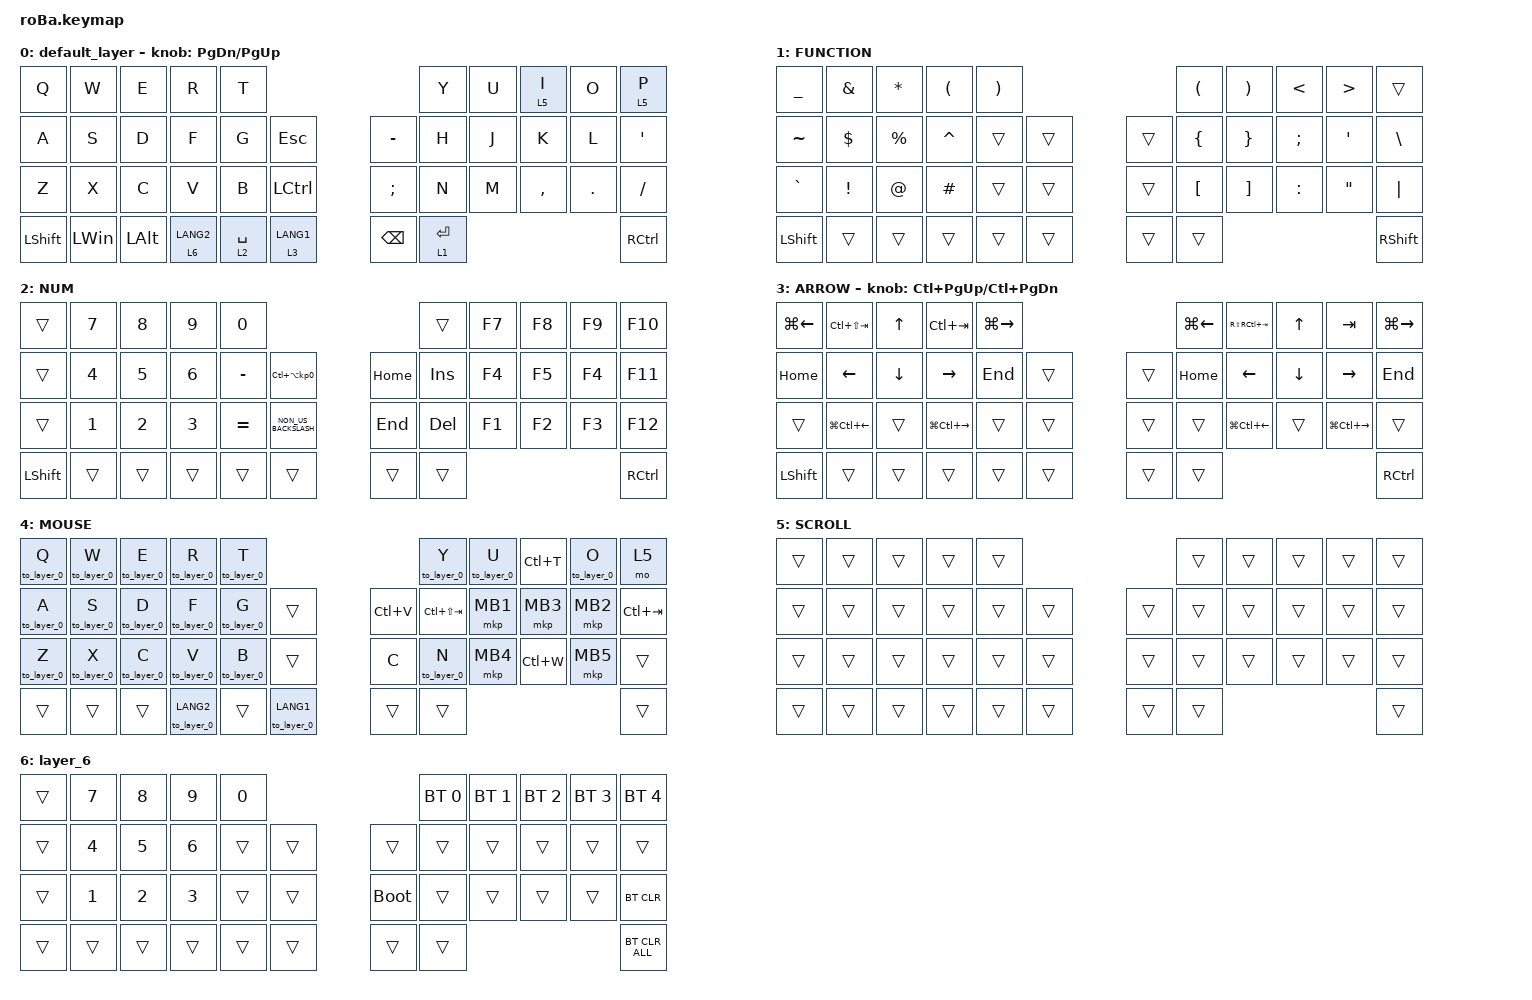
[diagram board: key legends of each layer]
#include <behaviors.dtsi>
#include <dt-bindings/zmk/bt.h>
#include <dt-bindings/zmk/keys.h>
#include <dt-bindings/zmk/pointing.h>

&mt {
    flavor = "balanced";
    quick-tap-ms = <0>;
};

&trackball {
    automouse-layer = <4>;
    scroll-layers = <5>;

    // arrows {
    //     layers = <3>;
    //     bindings =
    //         <&kp RIGHT_ARROW>,
    //         <&kp LEFT_ARROW>,
    //         <&kp UP_ARROW>,
    //         <&kp DOWN_ARROW>;
    //     tick = <10>;
    //     wait-ms = <5>;
    //     tap-ms = <5>;
    // };
};

/ {
    combos {
        compatible = "zmk,combos";

        tab {
            bindings = <&kp TAB>;
            key-positions = <11 12>;
        };

        shift_tab {
            bindings = <&kp LS(TAB)>;
            key-positions = <12 13>;
        };

        muhennkann {
            bindings = <&to_layer_0 INT_MUHENKAN>;
            key-positions = <11 10>;
        };

        double_quotation {
            bindings = <&kp DOUBLE_QUOTES>;
            key-positions = <20 21>;
        };

        eq {
            bindings = <&kp EQUAL>;
            key-positions = <24 25>;
        };

        hankaku {
            bindings = <&kp LANGUAGE_5>;
            key-positions = <38 39>;
        };

        LargeZ {
            bindings = <&kp RS(Z)>;
            key-positions = <15 22>;
        };

        Delete {
            bindings = <&kp DELETE>;
            key-positions = <40 41>;
        };
    };

    macros {
        to_layer_0: to_layer_0 {
            compatible = "zmk,behavior-macro-one-param";
            #binding-cells = <1>;
            bindings = <&to 0 &macro_param_1to1 &kp MACRO_PLACEHOLDER>;
            label = "TO_LAYER_0";
        };
    };

    behaviors {
        lt_to_layer_0: lt_to_layer_0 {
            compatible = "zmk,behavior-hold-tap";
            label = "LAYER_TAP_TO_0";
            bindings = <&mo>, <&to_layer_0>;

            #binding-cells = <2>;
            tapping-term-ms = <200>;
        };
    };

    keymap {
        compatible = "zmk,keymap";

        default_layer {
            bindings = <
&kp Q           &kp W         &kp E         &kp R                   &kp T                                                   &kp Y        &kp U  &lt 5 I    &kp O    &lt 5 P
&kp A           &kp S         &kp D         &kp F                   &kp G        &kp ESC                     &kp MINUS      &kp H        &kp J  &kp K      &kp L    &kp SQT
&kp Z           &kp X         &kp C         &kp V                   &kp B        &kp LEFT_CONTROL            &kp SEMICOLON  &kp N        &kp M  &kp COMMA  &kp DOT  &kp SLASH
&kp LEFT_SHIFT  &kp LEFT_WIN  &kp LEFT_ALT  &lt_to_layer_0 6 LANG2  &lt 2 SPACE  &lt_to_layer_0 3 LANG1      &kp BACKSPACE  &lt 1 ENTER                             &kp RIGHT_CONTROL
            >;

            sensor-bindings = <&inc_dec_kp PAGE_DOWN PAGE_UP>;
        };

        FUNCTION {
            bindings = <
&kp UNDERSCORE  &kp AMPERSAND    &kp ASTERISK  &kp LEFT_PARENTHESIS  &kp RIGHT_PARENTHESIS                      &kp LEFT_PARENTHESIS  &kp RIGHT_PARENTHESIS  &kp LESS_THAN  &kp GREATER_THAN   &trans
&kp TILDE       &kp DOLLAR       &kp PERCENT   &kp CARET             &trans                 &trans      &trans  &kp LEFT_BRACE        &kp RIGHT_BRACE        &kp SEMICOLON  &kp SINGLE_QUOTE   &kp BACKSLASH
&kp GRAVE       &kp EXCLAMATION  &kp AT_SIGN   &kp HASH              &trans                 &trans      &trans  &kp LEFT_BRACKET      &kp RIGHT_BRACKET      &kp COLON      &kp DOUBLE_QUOTES  &kp PIPE
&kp LEFT_SHIFT  &trans           &trans        &trans                &trans                 &trans      &trans  &trans                                                                         &kp RIGHT_SHIFT
            >;
        };

        NUM {
            bindings = <
&trans          &kp N7        &kp N8        &kp N9        &kp NUMBER_0                                         &trans      &kp F7  &kp F8  &kp F9  &kp F10
&trans          &kp NUMBER_4  &kp N5        &kp NUMBER_6  &kp MINUS     &kp LC(LA(KP_NUMBER_0))      &kp HOME  &kp INS     &kp F4  &kp F5  &kp F4  &kp F11
&trans          &kp NUMBER_1  &kp NUMBER_2  &kp NUMBER_3  &kp EQUAL     &kp NON_US_BACKSLASH         &kp END   &kp DELETE  &kp F1  &kp F2  &kp F3  &kp F12
&kp LEFT_SHIFT  &trans        &trans        &trans        &trans        &trans                       &trans    &trans                              &kp RIGHT_CONTROL
            >;
        };

        ARROW {
            bindings = <
&kp LG(LEFT)    &kp LC(LS(TAB))         &kp UP_ARROW    &kp LC(TAB)              &kp LG(RIGHT)                      &kp LG(LEFT)  &kp RS(RC(TAB))   &kp UP    &kp TAB            &kp LG(RIGHT)
&kp HOME        &kp LEFT_ARROW          &kp DOWN_ARROW  &kp RIGHT_ARROW          &kp END        &trans      &trans  &kp HOME      &kp LEFT          &kp DOWN  &kp RIGHT          &kp END
&trans          &kp LG(LC(LEFT_ARROW))  &trans          &kp LG(LC(RIGHT_ARROW))  &trans         &trans      &trans  &trans        &kp LG(LC(LEFT))  &trans    &kp LG(LC(RIGHT))  &trans
&kp LEFT_SHIFT  &trans                  &trans          &trans                   &trans         &trans      &trans  &trans                                                       &kp RIGHT_CONTROL
            >;

            sensor-bindings = <&inc_dec_kp LC(PAGE_UP) LC(PAGE_DOWN)>;
        };

        MOUSE {
            bindings = <
&to_layer_0 Q  &to_layer_0 W  &to_layer_0 E  &to_layer_0 R      &to_layer_0 T                                    &to_layer_0 Y    &to_layer_0 U  &kp LC(T)  &to_layer_0 O  &mo 5
&to_layer_0 A  &to_layer_0 S  &to_layer_0 D  &to_layer_0 F      &to_layer_0 G  &trans                 &kp LC(V)  &kp LC(LS(TAB))  &mkp MB1       &mkp MB3   &mkp MB2       &kp LC(TAB)
&to_layer_0 Z  &to_layer_0 X  &to_layer_0 C  &to_layer_0 V      &to_layer_0 B  &trans                 &kp C      &to_layer_0 N    &mkp MB4       &kp LC(W)  &mkp MB5       &trans
&trans         &trans         &trans         &to_layer_0 LANG2  &trans         &to_layer_0 LANG1      &trans     &trans                                                    &trans
            >;
        };

        SCROLL {
            bindings = <
&trans  &trans  &trans  &trans  &trans                      &trans  &trans  &trans  &trans  &trans
&trans  &trans  &trans  &trans  &trans  &trans      &trans  &trans  &trans  &trans  &trans  &trans
&trans  &trans  &trans  &trans  &trans  &trans      &trans  &trans  &trans  &trans  &trans  &trans
&trans  &trans  &trans  &trans  &trans  &trans      &trans  &trans                          &trans
            >;
        };

        layer_6 {
            bindings = <
&trans  &kp NUMBER_7  &kp NUMBER_8  &kp NUMBER_9  &kp NUMBER_0                           &bt BT_SEL 0  &bt BT_SEL 1  &bt BT_SEL 2  &bt BT_SEL 3  &bt BT_SEL 4
&trans  &kp NUMBER_4  &kp NUMBER_5  &kp NUMBER_6  &trans        &trans      &trans       &trans        &trans        &trans        &trans        &trans
&trans  &kp NUMBER_1  &kp NUMBER_2  &kp NUMBER_3  &trans        &trans      &bootloader  &trans        &trans        &trans        &trans        &bt BT_CLR
&trans  &trans        &trans        &trans        &trans        &trans      &trans       &trans                                                  &bt BT_CLR_ALL
            >;
        };
    };
};
